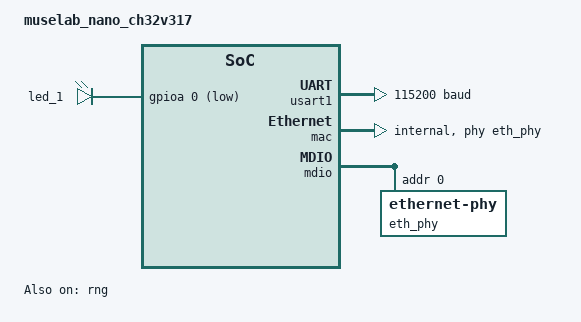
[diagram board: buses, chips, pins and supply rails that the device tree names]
/*
 * Copyright (c) 2026 James Bennion-Pedley
 * SPDX-License-Identifier: Apache-2.0
 */

#include <wch/ch32v317/ch32v317wc.dtsi>
#include <zephyr/dt-bindings/gpio/gpio.h>
#include <zephyr/dt-bindings/input/input-event-codes.h>
#include <zephyr/dt-bindings/pwm/pwm.h>
#include "nano_ch32v317-pinctrl.dtsi"

/ {
	model = "muselab_nano_ch32v317";
	compatible = "muselab,nano-ch32v317";

	chosen {
		zephyr,sram = &sram0;
		zephyr,flash = &flash0;
		zephyr,console = &usart1;
		zephyr,shell-uart = &usart1;
	};

	leds {
		compatible = "gpio-leds";
		status = "okay";

		led_1: led1 {
			gpios = <&gpioa 0 GPIO_ACTIVE_LOW>;
		};
	};

	pwmleds: pwmleds {
		compatible = "pwm-leds";
		status = "disabled";

		/* PA0 is the board user LED (active-low) and also TIM2_CH1
		 * (no remap). Driving it with PWM2 channel 0 gives a breathing
		 * LED effect via fade_led without extra wiring.
		 */
		pwm_led_2: pwm_led_2 {
			pwms = <&pwm2 0 PWM_MSEC(20) PWM_POLARITY_INVERTED>;
		};
	};

	aliases {
		led0 = &led_1;
		pwm-led0 = &pwm_led_2;
	};
};

&clk_hse {
	status = "okay";
};

&pll {
	clocks = <&clk_hse>;
	status = "okay";
};

&rcc {
	clocks = <&pll>;
};

&gpioa {
	status = "okay";
};

&gpiob {
	status = "okay";
};

&gpioc {
	status = "okay";
};

&gpiod {
	status = "okay";
};

&gpioe {
	status = "okay";
};

&usart1 {
	status = "okay";
	current-speed = <115200>;
	pinctrl-0 = <&usart1_default>;
	pinctrl-names = "default";
};

&rng {
	status = "okay";
};

&mac {
	status = "okay";
	pinctrl-0 = <&mac_default>;
	pinctrl-names = "default";
	phy-connection-type = "internal";
	phy-handle = <&eth_phy>;
};

&mdio {
	status = "okay";
	pinctrl-0 = <&mdio_default>;
	pinctrl-names = "default";

	eth_phy: ethernet-phy@0 {
		compatible = "ethernet-phy";
		reg = <0x00>;
	};
};
